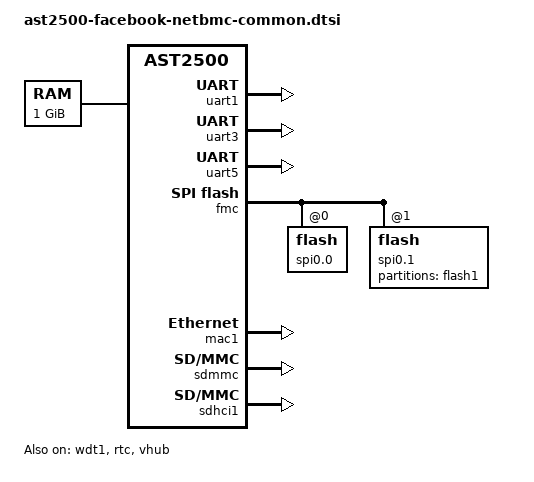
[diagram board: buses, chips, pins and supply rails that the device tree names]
// SPDX-License-Identifier: GPL-2.0+
// Copyright (c) 2019 Facebook Inc.

#include "aspeed-g5.dtsi"

/ {
	memory@80000000 {
		reg = <0x80000000 0x40000000>;
	};
};

/*
 * Update reset type to "system" (full chip) to fix warm reboot hang issue
 * when reset type is set to default ("soc", gated by reset mask registers).
 */
&wdt1 {
	status = "okay";
	aspeed,reset-type = "system";
};

&wdt2 {
	status = "disabled";
};

&uart1 {
	status = "okay";
	pinctrl-names = "default";
	pinctrl-0 = <&pinctrl_txd1_default
		     &pinctrl_rxd1_default>;
};

&uart3 {
	status = "okay";
	pinctrl-names = "default";
	pinctrl-0 = <&pinctrl_txd3_default
		     &pinctrl_rxd3_default>;
};

&uart5 {
	status = "okay";
};

&fmc {
	status = "okay";

	fmc_flash0: flash@0 {
		status = "okay";
		m25p,fast-read;
		label = "spi0.0";

#include "facebook-bmc-flash-layout.dtsi"
	};

	fmc_flash1: flash@1 {
		status = "okay";
		m25p,fast-read;
		label = "spi0.1";

		partitions {
			compatible = "fixed-partitions";
			#address-cells = <1>;
			#size-cells = <1>;

			flash1@0 {
				reg = <0x0 0x2000000>;
				label = "flash1";
			};
		};
	};
};

&mac1 {
	status = "okay";
	no-hw-checksum;
	pinctrl-names = "default";
	pinctrl-0 = <&pinctrl_rgmii2_default &pinctrl_mdio2_default>;
};

&rtc {
	status = "okay";
};

&vhub {
	status = "okay";
};

&sdmmc {
	status = "okay";
};

&sdhci1 {
	status = "okay";

	pinctrl-names = "default";
	pinctrl-0 = <&pinctrl_sd2_default>;
};
